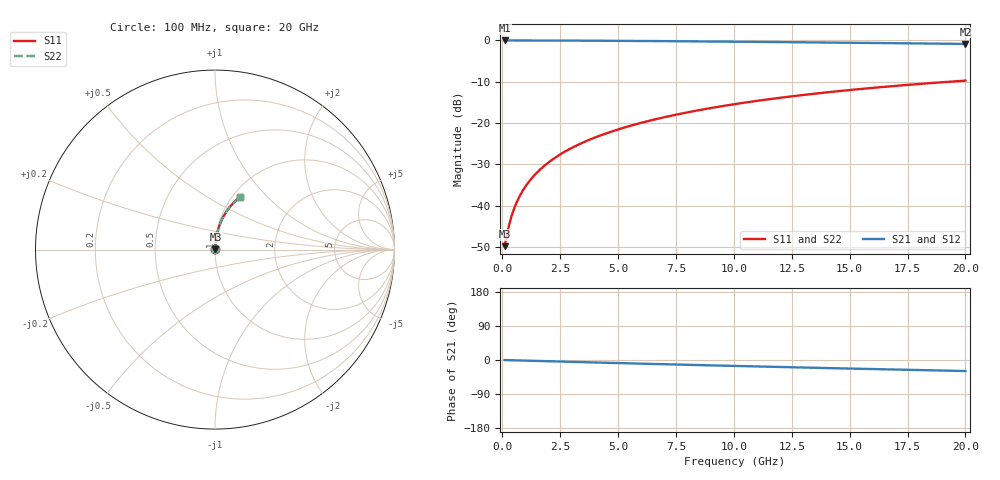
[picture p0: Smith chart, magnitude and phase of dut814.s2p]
! Touchstone file exported from HFSS 2024.1.0
!  File:  C:/UserFiles/LocalFiles/RDL_TSV_Batchsim/temp_RDL_top_814_1779854243.aedt
!  Generated:  11:59:56 AM May 27, 2026
!  Design:  RDL_top
!  Project:  temp_RDL_top_814_1779854243
!  Setup:  Setup1
!  Solution:  Sweep
! Variables:
!  dtsv = 10.80580581um
!  hbump = 3um
!  htsv = 99.07um
!  ldown = 100um
!  lrdl = 368.4um
!  p = 40
!  p1 = 46.22um
!  rhole = 1um
!  t = 450um
!  tdown = 3.915915916um
!  trdl = 3.24um
!  wdown = 15.38538539um
!  wrdl = 15.73um
# GHz S MA R 50.000000
! Terminal data exported
! Port[1] = Box2_T1
! Port[2] = Box2_T2
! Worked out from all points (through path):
!   200 points, 100 MHz to 20 GHz, reference 50 ohm
!   highest |S21| = -0.02 dB at 100 MHz (marker M1); lowest = -0.9 dB at 20 GHz (marker M2)
!   group delay of S21, straight-line fit = 4.03 ps
!   lowest |S11| = -49.8 dB at 100 MHz (marker M3), VSWR 1.01, Z = 50.3 + j0.177 ohm
!   |S11| at or under -10 dB: start of sweep to 19.32 GHz
!   |S22| runs from -49.8 to -9.7 dB; largest |S21 - S12| = 3.2e-15
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0.1  0.003245 32.9  0.9973 -0.2  0.9973 -0.2  0.003245 32.9
! Gamma 0 0 0 0
! Port Impedance 50 0 50 0
0.2  0.004475 51.4  0.9972 -0.3  0.9972 -0.3  0.004475 51.4
0.3  0.005948 61.1  0.9971 -0.5  0.9971 -0.5  0.005948 61.1
0.4  0.007498 66.7  0.997 -0.7  0.997 -0.7  0.007498 66.7
0.5  0.009075 70.3  0.9969 -0.8  0.9969 -0.8  0.009075 70.3
0.6  0.01066 72.9  0.9968 -1.0  0.9968 -1.0  0.01066 72.9
0.8  0.01387 76.2  0.9966 -1.3  0.9966 -1.3  0.01387 76.2
1.1  0.01871 79.1  0.9963 -1.8  0.9963 -1.8  0.01871 79.1
1.3  0.02197 80.3  0.996 -2.2  0.996 -2.2  0.02197 80.3
1.6  0.02688 81.5  0.9956 -2.6  0.9956 -2.6  0.02688 81.5
2.1  0.03512 82.6  0.9948 -3.5  0.9948 -3.5  0.03512 82.6
2.7  0.04507 83.2  0.9936 -4.4  0.9936 -4.4  0.04507 83.2
3.5  0.05842 83.3  0.9916 -5.7  0.9916 -5.7  0.05842 83.3
4.2  0.07019 83.1  0.9895 -6.9  0.9895 -6.9  0.07019 83.1
5  0.0837 82.6  0.9867 -8.1  0.9867 -8.1  0.0837 82.6
5.9  0.09898 81.9  0.9832 -9.5  0.9832 -9.5  0.09898 81.9
6.8  0.1143 81.0  0.9794 -10.9  0.9794 -10.9  0.1143 81.0
8.3  0.1399 79.4  0.9724 -13.1  0.9724 -13.1  0.1399 79.4
10.1  0.1704 77.2  0.9633 -15.8  0.9633 -15.8  0.1704 77.2
13.4  0.2251 73.0  0.9453 -20.4  0.9453 -20.4  0.2251 73.0
16.7  0.2772 68.6  0.9259 -24.9  0.9259 -24.9  0.2772 68.6
20  0.3259 64.3  0.9056 -29.1  0.9056 -29.1  0.3259 64.3
